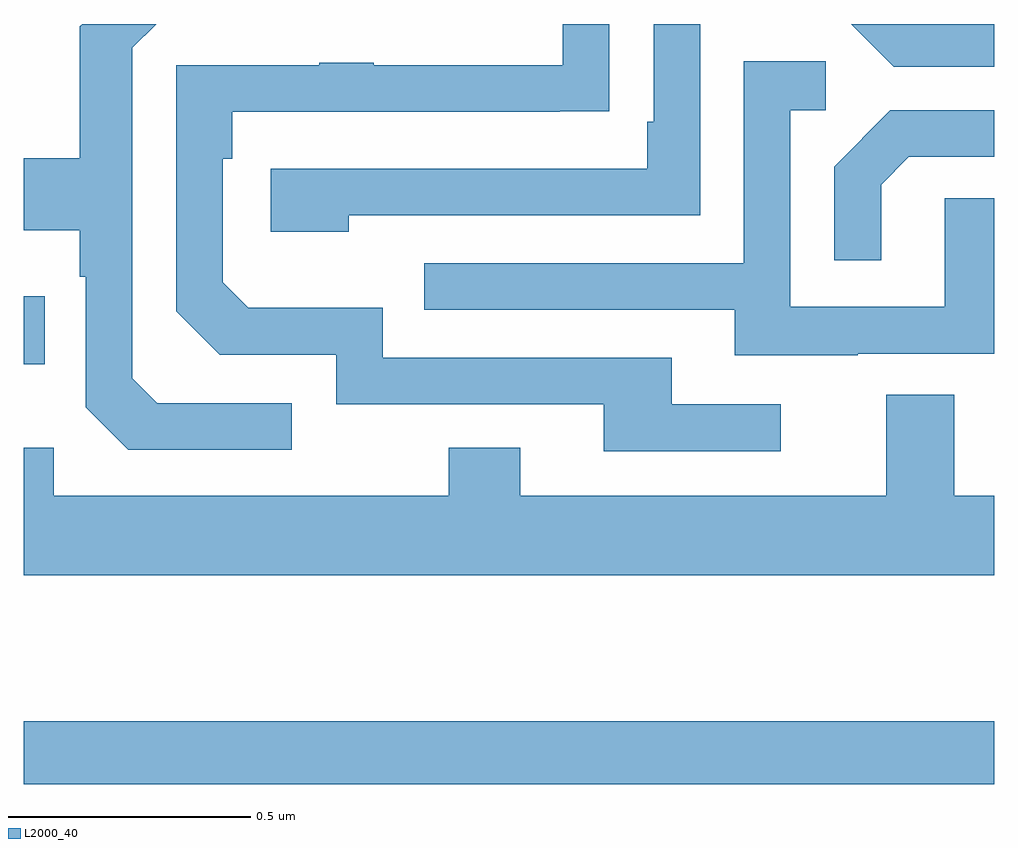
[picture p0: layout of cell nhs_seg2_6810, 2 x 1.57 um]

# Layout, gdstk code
import gdstk
lib = gdstk.Library(unit=1e-6, precision=1e-09)
def R(c, l, rs):  # rectangles x0, y0, x1, y1
    for r in rs: c.add(gdstk.rectangle(r[:2], r[2:], *l))
def P(c, l, *ps):  # polygons
    for p in ps: c.add(gdstk.Polygon(p, *l))
L2000_40 = (2000, 40)

nhs_seg2_6810 = lib.new_cell('nhs_seg2_6810')
R(nhs_seg2_6810, L2000_40, [(196,619.234,198,619.363), (196,620.099,196.043,620.239)])
P(nhs_seg2_6810, L2000_40, [(196.552,620.019),(196.275,620.019),(196.224,620.07),(196.224,620.751),(196.273,620.8),(196.121,620.8),(196.116,620.795),(196.116,620.523),(196,620.523),(196,620.375),(196.116,620.375),(196.116,620.279),(196.128,620.279),(196.128,620.01),(196.215,619.923),(196.552,619.923)],
  [(197.56,620.016),(197.335,620.016),(197.335,620.112),(196.74,620.112),(196.74,620.215),(196.463,620.215),(196.41,620.268),(196.41,620.522),(196.43,620.522),(196.43,620.619),(197.105,620.619),(197.105,620.62),(197.207,620.62),(197.207,620.8),(197.111,620.8),(197.111,620.715),(196.721,620.715),(196.721,620.72),(196.609,620.72),(196.609,620.715),(196.314,620.715),(196.314,620.208),(196.404,620.118),(196.644,620.118),(196.644,620.016),(197.195,620.016),(197.195,619.92),(197.56,619.92)],
  [(196.67,620.406),(197.394,620.406),(197.394,620.8),(197.298,620.8),(197.298,620.599),(197.285,620.599),(197.285,620.502),(196.509,620.502),(196.509,620.372),(196.67,620.372)],
  [(198,620.8),(197.705,620.8),(197.793,620.712),(198,620.712)],
  [(197.719,620.121),(198,620.121),(198,620.441),(197.898,620.441),(197.898,620.217),(197.58,620.217),(197.58,620.622),(197.653,620.622),(197.653,620.723),(197.484,620.723),(197.484,620.307),(196.825,620.307),(196.825,620.211),(197.465,620.211),(197.465,620.117),(197.719,620.117)],
  [(197.767,620.469),(197.824,620.526),(198,620.526),(198,620.622),(197.786,620.622),(197.67,620.506),(197.67,620.313),(197.767,620.313)],
  [(198,619.828),(197.917,619.828),(197.917,620.036),(197.777,620.036),(197.777,619.828),(197.023,619.828),(197.023,619.927),(196.876,619.927),(196.876,619.828),(196.062,619.828),(196.062,619.927),(196,619.927),(196,619.664),(198,619.664)])

lib.write_gds('nhs_seg2_6810.gds')
